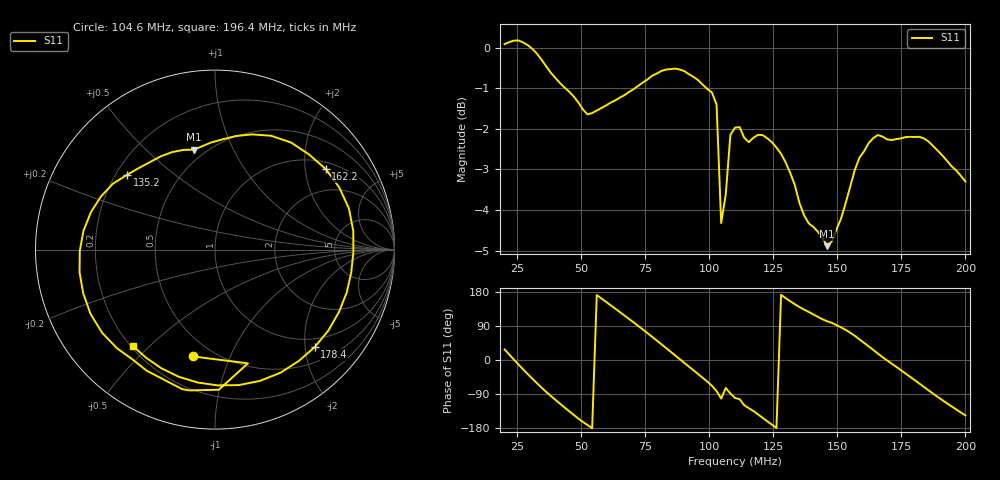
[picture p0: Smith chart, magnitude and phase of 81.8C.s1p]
# HZ S RI R 50
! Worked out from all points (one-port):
!   101 points, 20 MHz to 200 MHz, reference 50 ohm
!   lowest |S11| = -4.9 dB at 146 MHz (marker M1), VSWR 3.64, Z = 21.6 + j35.6 ohm
!   |S11| at or under -10 dB: nowhere
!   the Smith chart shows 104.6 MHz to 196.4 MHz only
!   S11 on the Smith chart (normalised r, x): 104.6 MHz: 0.39, -0.74; 135.2 MHz: 0.24, +0.35; 162.2 MHz: 1.20, +2.58; 178.4 MHz: 0.81, -2.21; 196.4 MHz: 0.21, -0.45
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2e7  0.8941 0.4717
2.54e7  1 -0.2069
3.26e7  0.4762 -0.8612
3.8e7  -0.0748 -0.9293
4.34e7  -0.515 -0.7304
4.88e7  -0.7729 -0.3695
5.42e7  -0.8312 -0.000843
6.5e7  -0.5164 0.6981
7.58e7  0.299 0.8638
8.3e7  0.7971 0.499
8.84e7  0.9398 0.0383
9.38e7  0.819 -0.4215
9.92e7  0.4826 -0.7479
1.028e8  0.1181 -0.8432
1.046e8  -0.1246 -0.595
1.064e8  0.1835 -0.6337
1.1e8  -0.1421 -0.7846
1.226e8  -0.7344 -0.2431
1.334e8  -0.5681 0.3677
1.352e8  -0.4902 0.4164
1.46e8  -0.1193 0.5567
1.55e8  0.2059 0.6419
1.622e8  0.6165 0.4492
1.694e8  0.771 -0.0148
1.784e8  0.5556 -0.5429
1.874e8  0.0143 -0.7565
1.964e8  -0.4576 -0.5377
2e8  -0.568 -0.3815
